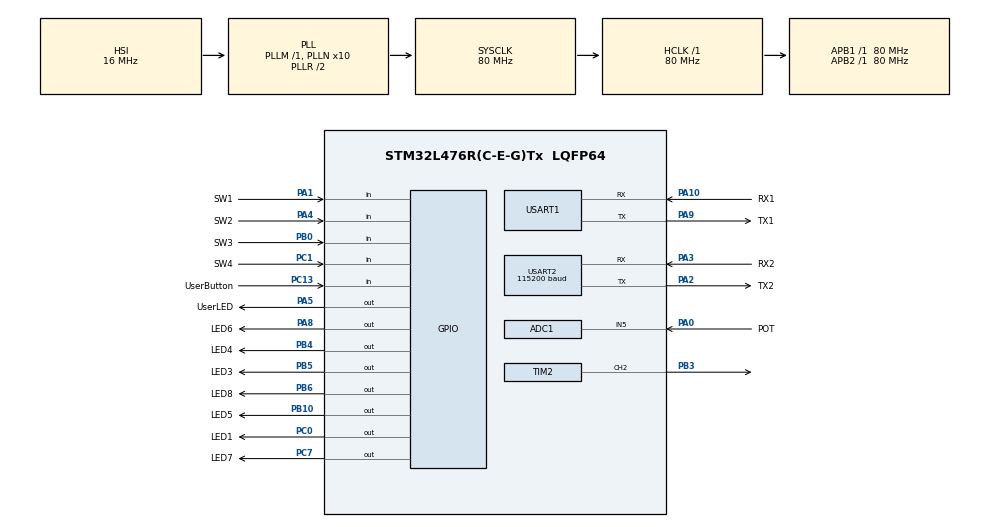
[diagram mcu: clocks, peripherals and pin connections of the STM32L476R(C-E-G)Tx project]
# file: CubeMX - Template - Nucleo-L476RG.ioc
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ADC1.Channel-0\#ChannelRegularConversion=ADC_CHANNEL_5
ADC1.NbrOfConversionFlag=1
ADC1.OffsetNumber-0\#ChannelRegularConversion=ADC_OFFSET_NONE
ADC1.Overrun=ADC_OVR_DATA_OVERWRITTEN
ADC1.Rank-0\#ChannelRegularConversion=1
ADC1.Resolution=ADC_RESOLUTION_12B
ADC1.SamplingTime-0\#ChannelRegularConversion=ADC_SAMPLETIME_2CYCLES_5
ADC1.master=1
IWDG.Prescaler=IWDG_PRESCALER_256
IWDG.Reload=1249
Mcu.Family=STM32L4
Mcu.Name=STM32L476R(C-E-G)Tx
Mcu.Package=LQFP64
NVIC.PriorityGroup=NVIC_PRIORITYGROUP_4
NVIC.USART1_IRQn=true\:0\:0\:false\:false\:true\:true\:true\:true
PA0.GPIO_Label=POT
PA0.Signal=ADCx_IN5
PA1.GPIO_Label=SW1
PA1.Signal=GPIO_Input
PA10.GPIO_Label=RX1
PA10.Mode=Asynchronous
PA10.Signal=USART1_RX
PA13\ (JTMS-SWDIO).GPIO_Label=TMS
PA13\ (JTMS-SWDIO).Mode=Serial_Wire
PA13\ (JTMS-SWDIO).Signal=SYS_JTMS-SWDIO
PA14\ (JTCK-SWCLK).GPIO_Label=TCK
PA14\ (JTCK-SWCLK).Mode=Serial_Wire
PA14\ (JTCK-SWCLK).Signal=SYS_JTCK-SWCLK
PA2.GPIO_Label=TX2
PA2.GPIO_Mode=GPIO_MODE_AF_PP
PA2.GPIO_PuPd=GPIO_NOPULL
PA2.GPIO_Speed=GPIO_SPEED_FREQ_VERY_HIGH
PA2.Mode=Asynchronous
PA2.Signal=USART2_TX
PA3.GPIO_Label=RX2
PA3.GPIO_Mode=GPIO_MODE_AF_PP
PA3.GPIO_PuPd=GPIO_NOPULL
PA3.GPIO_Speed=GPIO_SPEED_FREQ_VERY_HIGH
PA3.Mode=Asynchronous
PA3.Signal=USART2_RX
PA4.GPIO_Label=SW2
PA4.Signal=GPIO_Input
PA5.GPIO_Label=UserLED
PA5.GPIO_ModeDefaultOutputPP=GPIO_MODE_OUTPUT_PP
PA5.GPIO_PuPd=GPIO_NOPULL
PA5.GPIO_Speed=GPIO_SPEED_FREQ_LOW
PA5.Signal=GPIO_Output
PA8.GPIO_Label=LED6
PA8.Signal=GPIO_Output
PA9.GPIO_Label=TX1
PA9.Mode=Asynchronous
PA9.Signal=USART1_TX
PB0.GPIO_Label=SW3
PB0.Signal=GPIO_Input
PB10.GPIO_Label=LED5
PB10.Signal=GPIO_Output
PB3\ (JTDO-TRACESWO).Signal=S_TIM2_CH2
PB4\ (NJTRST).GPIO_Label=LED4
PB4\ (NJTRST).Signal=GPIO_Output
PB5.GPIO_Label=LED3
PB5.Signal=GPIO_Output
PB6.GPIO_Label=LED8
PB6.Signal=GPIO_Output
PC0.GPIO_Label=LED1
PC0.Signal=GPIO_Output
PC1.GPIO_Label=SW4
PC1.Signal=GPIO_Input
PC13.GPIO_Label=UserButton
PC13.Signal=GPIO_Input
PC7.GPIO_Label=LED7
PC7.Signal=GPIO_Output
ProjectManager.HeapSize=0x200
ProjectManager.StackSize=0x400
ProjectManager.TargetToolchain=MDK-ARM V5.32
RCC.ADCFreq_Value=64000000
RCC.AHBFreq_Value=80000000
RCC.APB1Freq_Value=80000000
RCC.APB1TimFreq_Value=80000000
RCC.APB2Freq_Value=80000000
RCC.APB2TimFreq_Value=80000000
RCC.CortexFreq_Value=80000000
RCC.HCLKFreq_Value=80000000
RCC.HSE_VALUE=8000000
RCC.HSI_VALUE=16000000
RCC.LSE_VALUE=32768
RCC.MSI_VALUE=4000000
RCC.PLLN=10
RCC.PLLSourceVirtual=RCC_PLLSOURCE_HSI
RCC.PREFETCH_ENABLE=1
RCC.SYSCLKFreq_VALUE=80000000
RCC.SYSCLKSource=RCC_SYSCLKSOURCE_PLLCLK
RCC.USBFreq_Value=64000000
RCC.VCOOutputFreq_Value=160000000
SH.ADCx_IN5.0=ADC1_IN5,IN5-Single-Ended
SH.S_TIM2_CH2.0=TIM2_CH2,PWM Generation2 CH2
TIM2.Channel-PWM\ Generation2\ CH2=TIM_CHANNEL_2
TIM2.Period=999
TIM2.Prescaler=79
USART1.OverrunDisableParam=ADVFEATURE_OVERRUN_DISABLE
USART1.VirtualMode-Asynchronous=VM_ASYNC
USART2.BaudRate=115200
USART2.OverrunDisableParam=ADVFEATURE_OVERRUN_DISABLE
USART2.VirtualMode-Asynchronous=VM_ASYNC
VP_IWDG_VS_IWDG.Mode=IWDG_Activate
board=NUCLEO-L476RG

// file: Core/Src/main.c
/* USER CODE BEGIN Header */
/**
  ******************************************************************************
  * @file           : main.c
  * @brief          : Main program body
  ******************************************************************************
  * @attention
  *
  * Copyright (c) 2023 STMicroelectronics.
  * All rights reserved.
  *
  * This software is licensed under terms that can be found in the LICENSE file
  * in the root directory of this software component.
  * If no LICENSE file comes with this software, it is provided AS-IS.
  *
  ******************************************************************************
  */
/* USER CODE END Header */
#include "main.h"

/* USER CODE BEGIN Includes */
#include "stdlib.h"
#include "string.h"
#include "leds.h"
#include "buttons.h"
#include "usart1.h"
#include "usart2.h"
#include "ad.h"
#include "stdio.h"
#include "circularBuffer.h"
#include "esp32c3.h"
#include "wifi.h"
#include <ctype.h>
/* USER CODE END Includes */

ADC_HandleTypeDef hadc1;

IWDG_HandleTypeDef hiwdg;

TIM_HandleTypeDef htim2;

UART_HandleTypeDef huart1;
UART_HandleTypeDef huart2;

/* USER CODE BEGIN PV */
// Timer handle voor PWM (TIM2)
static uint8_t buttonsValue = 0, index = 0;
static uint16_t adValue = 0;
static volatile uint32_t ticks = 0;

static bool userButtonHelp = false, sw1Help = false, sw2Help = false, sw3Help = false, sw4Help = false;
volatile bool timerTicked = false;
static bool timeBasedPublishing = false;
static char text[CHAR_ARRAY_BUFFER_LENGTH];
static char receivedText[CHAR_ARRAY_BUFFER_LENGTH];
static char httpParameters[CHAR_ARRAY_BUFFER_LENGTH];
static volatile enum UsartState usart1State =	idle;

extern volatile CircularBuffer circularBuffer;
extern enum CircularBufferActionResult circularBufferActionResult;
static uint8_t leds = 0, numberOfReceivedBytes = 0;

static volatile uint8_t receivedUsart1Data = 0;
/* USER CODE END PV */

void SystemClock_Config(void);
static void MX_GPIO_Init(void);
static void MX_ADC1_Init(void);
static void MX_USART2_UART_Init(void);
static void MX_USART1_UART_Init(void);
static void MX_IWDG_Init(void);
static void MX_TIM2_Init(void);
void HAL_TIM_MspPostInit(TIM_HandleTypeDef *htim);

int main(void)
{

  /* MCU Configuration--------------------------------------------------------*/

  /* Reset of all peripherals, Initializes the Flash interface and the Systick. */
  HAL_Init();

  /* Configure the system clock */
  SystemClock_Config();

  /* Initialize all configured peripherals */
  MX_GPIO_Init();
  MX_ADC1_Init();
  MX_USART2_UART_Init();
  MX_USART1_UART_Init();
  MX_IWDG_Init();
  MX_TIM2_Init();
  /* USER CODE BEGIN 2 */
	printf("Reboot\r\n");
	printf("User button = start/stop pushing to Firebase.\r\n");

	if(InitCircularBuffer(&circularBuffer) != INIT_SUCCEEDED)
		printf("Initialization of CircularBuffer failed!\r\n");

	HAL_Delay(1000);

	HAL_UART_Receive_IT(&huart1, (uint8_t*)&receivedUsart1Data, 1);

	// Start PWM op TIM2 Channel 2 (PB3 - LED2)
	if (HAL_TIM_PWM_Start(&htim2, TIM_CHANNEL_2) != HAL_OK)
    {
        printf("Fout: Kon PWM TIM2 CH2 niet starten!\r\n");
    }
    else
    {
        printf("PWM TIM2 CH2 gestart.\r\n");
    }

	// WiFi & MQTT Setup
	StringToUsart1("AT\r\n");
	while(!LookForString1(&circularBuffer, "OK\r\n"));

	StringToUsart1("AT+RST\r\n");
	while(!LookForString1(&circularBuffer, "ready\r\n"));

	StringToUsart1("AT+GMR\r\n");
	while(!LookForString1(&circularBuffer, "OK\r\n"));

	ConnectToWiFiNetwork(WIFI_SSID, WIFI_PWD);

	ConnectToMqttBroker(MQTT_BROKER_ADDRESS, MQTT_PORT, MQTT_USER, MQTT_PWD, MQTT_CLIENT_ID);

	SubscribeToMqttTopic(MQTT_SUB_TOPIC);

  /* USER CODE END 2 */

  /* Infinite loop */
  /* USER CODE BEGIN WHILE */
  while (1)
  {
		HAL_IWDG_Refresh(&hiwdg);

		adValue = (uint8_t)(GetAdValue(&hadc1) >> 4);

		buttonsValue = 0;
		if(SW1Active()) buttonsValue |= 0x01;
		if(SW2Active()) buttonsValue |= 0x02;
		if(SW3Active()) buttonsValue |= 0x04;
		if(SW4Active()) buttonsValue |= 0x08;
		if(UserButtonActive()) buttonsValue |= 0x10;

		ByteToLeds(leds);

		// HTTP/HTTPS logic (behoud van functionaliteit)
		if(SW1Active() && sw1Help == false) {
			sw1Help = true;
			sprintf(httpParameters, "apikey=%s", HTTP_APIKEY);
			HttpRequest(HTTP_HOST, HTTP_URL_GET, 80, GET, httpParameters);
		}
		if(!SW1Active()) sw1Help = false;

		if(SW2Active() && sw2Help == false) {
			sw2Help = true;
			sprintf(httpParameters, "apikey=%s&ad=%d", HTTP_APIKEY, adValue);
			HttpRequest(HTTP_HOST, HTTP_URL_POST, 80, POST, httpParameters);
		}
		if(!SW2Active()) sw2Help = false;

		if(SW3Active() && sw3Help == false) {
			sw3Help = true;
			sprintf(httpParameters, "auth=%s", HTTPS_DATABASE_SECRET);
			HttpsRequest(HTTPS_HOST, HTTPS_URL_GET, 443, GET, httpParameters);
		}
		if(!SW3Active()) sw3Help = false;

		if(SW4Active() && sw4Help == false) {
			sw4Help = true;
			sprintf(httpParameters, "{\"advalue\":%d}", adValue);
			sprintf(text, "%s?auth=%s", HTTPS_URL_PATCH, HTTPS_DATABASE_SECRET);
			HttpsRequest(HTTPS_HOST, text, 443, PATCH, httpParameters);
		}
		if(!SW4Active()) sw4Help = false;

		if(UserButtonActive() && userButtonHelp == false) {
			userButtonHelp = true;
			timeBasedPublishing = !timeBasedPublishing;
		}
		if(!UserButtonActive()) userButtonHelp = false;

		if(timeBasedPublishing && timerTicked) {
			timerTicked = false;
			sprintf(text, "%d", adValue);
			MqttPublish(MQTT_PUB_TOPIC, text);
		}

		// Buffer handling (De kern voor de LED Dimmer!)
		while(circularBuffer.numberOfStringsInBuffer > 0)
		{
			circularBufferActionResult = PopStringFromCircularBuffer(&circularBuffer, receivedText);
			if(circularBufferActionResult == READ_STRING_SUCCEEDED)
			{
				// HTTP(S) response
				if(strncmp("+IPD,", receivedText, 5) == 0)
				{
					while(!LookForString1(&circularBuffer, "\r\n"));
					while(circularBuffer.numberOfStringsInBuffer == 0);
					circularBufferActionResult = PopStringFromCircularBuffer(&circularBuffer, receivedText);
					leds = (uint8_t)atoi(receivedText);
					ByteToLeds(leds);
				}

				// MQTT: Labo 5.2
				sprintf(text, "+MQTTSUBRECV:0,\"%s\",", MQTT_SUB_TOPIC);
				index = strlen(text);

				if(strncmp(text, receivedText, index) == 0)
				{
					char *lastComma = strrchr(receivedText, ',');

					if (lastComma != NULL)
					{
						char *dataStart = lastComma + 1;
						bool isValidNumber = true;

						// Validatie: Is het een getal?
						if (*dataStart == '\r' || *dataStart == '\n' || *dataStart == '\0')
							isValidNumber = false;
						else {
							for (int i = 0; dataStart[i] != '\r' && dataStart[i] != '\n' && dataStart[i] != '\0'; i++) {
								if (!isdigit((unsigned char)dataStart[i])) {
									isValidNumber = false;
									break;
								}
							}
						}

						if (isValidNumber)
						{
							int receivedVal = atoi(dataStart);

							if (receivedVal >= 0 && receivedVal <= 100)
							{
								// Schaal 0-100 naar 0-1000
								uint32_t pulseValue = receivedVal * 10;
								__HAL_TIM_SET_COMPARE(&htim2, TIM_CHANNEL_2, pulseValue);
								printf("MQTT Dimmer (PB3): %d%% (Pulse=%lu)\r\n", receivedVal, pulseValue);
							}
							else
							{
								// Fout: Buiten bereik -> LED uit
								__HAL_TIM_SET_COMPARE(&htim2, TIM_CHANNEL_2, 0);
								printf("Fout: Waarde %d buiten bereik. LED uit.\r\n", receivedVal);
							}
						}
						else
						{
							// Fout: Geen getal -> LED uit
							__HAL_TIM_SET_COMPARE(&htim2, TIM_CHANNEL_2, 0);
							printf("Fout: Ongeldige data. LED uit.\r\n");
						}
					}
				}
			}
		}
		HAL_Delay(10);
    /* USER CODE END WHILE */

  }
}

void SystemClock_Config(void)
{
  RCC_OscInitTypeDef RCC_OscInitStruct = {0};
  RCC_ClkInitTypeDef RCC_ClkInitStruct = {0};

  /** Configure the main internal regulator output voltage
  */
  if (HAL_PWREx_ControlVoltageScaling(PWR_REGULATOR_VOLTAGE_SCALE1) != HAL_OK)
  {
    Error_Handler();
  }

  /** Initializes the RCC Oscillators according to the specified parameters
  * in the RCC_OscInitTypeDef structure.
  */
  RCC_OscInitStruct.OscillatorType = RCC_OSCILLATORTYPE_HSI|RCC_OSCILLATORTYPE_LSI;
  RCC_OscInitStruct.HSIState = RCC_HSI_ON;
  RCC_OscInitStruct.HSICalibrationValue = RCC_HSICALIBRATION_DEFAULT;
  RCC_OscInitStruct.LSIState = RCC_LSI_ON;
  RCC_OscInitStruct.PLL.PLLState = RCC_PLL_ON;
  RCC_OscInitStruct.PLL.PLLSource = RCC_PLLSOURCE_HSI;
  RCC_OscInitStruct.PLL.PLLM = 1;
  RCC_OscInitStruct.PLL.PLLN = 10;
  RCC_OscInitStruct.PLL.PLLP = RCC_PLLP_DIV7;
  RCC_OscInitStruct.PLL.PLLQ = RCC_PLLQ_DIV2;
  RCC_OscInitStruct.PLL.PLLR = RCC_PLLR_DIV2;
  if (HAL_RCC_OscConfig(&RCC_OscInitStruct) != HAL_OK)
  {
    Error_Handler();
  }

  /** Initializes the CPU, AHB and APB buses clocks
  */
  RCC_ClkInitStruct.ClockType = RCC_CLOCKTYPE_HCLK|RCC_CLOCKTYPE_SYSCLK
                              |RCC_CLOCKTYPE_PCLK1|RCC_CLOCKTYPE_PCLK2;
  RCC_ClkInitStruct.SYSCLKSource = RCC_SYSCLKSOURCE_PLLCLK;
  RCC_ClkInitStruct.AHBCLKDivider = RCC_SYSCLK_DIV1;
  RCC_ClkInitStruct.APB1CLKDivider = RCC_HCLK_DIV1;
  RCC_ClkInitStruct.APB2CLKDivider = RCC_HCLK_DIV1;

  if (HAL_RCC_ClockConfig(&RCC_ClkInitStruct, FLASH_LATENCY_4) != HAL_OK)
  {
    Error_Handler();
  }
}

static void MX_ADC1_Init(void)
{

  ADC_MultiModeTypeDef multimode = {0};
  ADC_ChannelConfTypeDef sConfig = {0};

  /** Common config
  */
  hadc1.Instance = ADC1;
  hadc1.Init.ClockPrescaler = ADC_CLOCK_ASYNC_DIV1;
  hadc1.Init.Resolution = ADC_RESOLUTION_12B;
  hadc1.Init.DataAlign = ADC_DATAALIGN_RIGHT;
  hadc1.Init.ScanConvMode = ADC_SCAN_DISABLE;
  hadc1.Init.EOCSelection = ADC_EOC_SINGLE_CONV;
  hadc1.Init.LowPowerAutoWait = DISABLE;
  hadc1.Init.ContinuousConvMode = DISABLE;
  hadc1.Init.NbrOfConversion = 1;
  hadc1.Init.DiscontinuousConvMode = DISABLE;
  hadc1.Init.ExternalTrigConv = ADC_SOFTWARE_START;
  hadc1.Init.ExternalTrigConvEdge = ADC_EXTERNALTRIGCONVEDGE_NONE;
  hadc1.Init.DMAContinuousRequests = DISABLE;
  hadc1.Init.Overrun = ADC_OVR_DATA_OVERWRITTEN;
  hadc1.Init.OversamplingMode = DISABLE;
  if (HAL_ADC_Init(&hadc1) != HAL_OK)
  {
    Error_Handler();
  }

  /** Configure the ADC multi-mode
  */
  multimode.Mode = ADC_MODE_INDEPENDENT;
  if (HAL_ADCEx_MultiModeConfigChannel(&hadc1, &multimode) != HAL_OK)
  {
    Error_Handler();
  }

  /** Configure Regular Channel
  */
  sConfig.Channel = ADC_CHANNEL_5;
  sConfig.Rank = ADC_REGULAR_RANK_1;
  sConfig.SamplingTime = ADC_SAMPLETIME_2CYCLES_5;
  sConfig.SingleDiff = ADC_SINGLE_ENDED;
  sConfig.OffsetNumber = ADC_OFFSET_NONE;
  sConfig.Offset = 0;
  if (HAL_ADC_ConfigChannel(&hadc1, &sConfig) != HAL_OK)
  {
    Error_Handler();
  }

}

static void MX_IWDG_Init(void)
{

  hiwdg.Instance = IWDG;
  hiwdg.Init.Prescaler = IWDG_PRESCALER_256;
  hiwdg.Init.Window = 4095;
  hiwdg.Init.Reload = 1249;
  if (HAL_IWDG_Init(&hiwdg) != HAL_OK)
  {
    Error_Handler();
  }

}

static void MX_TIM2_Init(void)
{

  TIM_MasterConfigTypeDef sMasterConfig = {0};
  TIM_OC_InitTypeDef sConfigOC = {0};

  htim2.Instance = TIM2;
  htim2.Init.Prescaler = 79;
  htim2.Init.CounterMode = TIM_COUNTERMODE_UP;
  htim2.Init.Period = 999;
  htim2.Init.ClockDivision = TIM_CLOCKDIVISION_DIV1;
  htim2.Init.AutoReloadPreload = TIM_AUTORELOAD_PRELOAD_DISABLE;
  if (HAL_TIM_PWM_Init(&htim2) != HAL_OK)
  {
    Error_Handler();
  }
  sMasterConfig.MasterOutputTrigger = TIM_TRGO_RESET;
  sMasterConfig.MasterSlaveMode = TIM_MASTERSLAVEMODE_DISABLE;
  if (HAL_TIMEx_MasterConfigSynchronization(&htim2, &sMasterConfig) != HAL_OK)
  {
    Error_Handler();
  }
  sConfigOC.OCMode = TIM_OCMODE_PWM1;
  sConfigOC.Pulse = 0;
  sConfigOC.OCPolarity = TIM_OCPOLARITY_HIGH;
  sConfigOC.OCFastMode = TIM_OCFAST_DISABLE;
  if (HAL_TIM_PWM_ConfigChannel(&htim2, &sConfigOC, TIM_CHANNEL_2) != HAL_OK)
  {
    Error_Handler();
  }
  HAL_TIM_MspPostInit(&htim2);

}

static void MX_USART1_UART_Init(void)
{

  huart1.Instance = USART1;
  huart1.Init.BaudRate = 115200;
  huart1.Init.WordLength = UART_WORDLENGTH_8B;
  huart1.Init.StopBits = UART_STOPBITS_1;
  huart1.Init.Parity = UART_PARITY_NONE;
  huart1.Init.Mode = UART_MODE_TX_RX;
  huart1.Init.HwFlowCtl = UART_HWCONTROL_NONE;
  huart1.Init.OverSampling = UART_OVERSAMPLING_16;
  huart1.Init.OneBitSampling = UART_ONE_BIT_SAMPLE_DISABLE;
  huart1.AdvancedInit.AdvFeatureInit = UART_ADVFEATURE_RXOVERRUNDISABLE_INIT;
  huart1.AdvancedInit.OverrunDisable = UART_ADVFEATURE_OVERRUN_DISABLE;
  if (HAL_UART_Init(&huart1) != HAL_OK)
  {
    Error_Handler();
  }

}

static void MX_USART2_UART_Init(void)
{

  huart2.Instance = USART2;
  huart2.Init.BaudRate = 115200;
  huart2.Init.WordLength = UART_WORDLENGTH_8B;
  huart2.Init.StopBits = UART_STOPBITS_1;
  huart2.Init.Parity = UART_PARITY_NONE;
  huart2.Init.Mode = UART_MODE_TX_RX;
  huart2.Init.HwFlowCtl = UART_HWCONTROL_NONE;
  huart2.Init.OverSampling = UART_OVERSAMPLING_16;
  huart2.Init.OneBitSampling = UART_ONE_BIT_SAMPLE_DISABLE;
  huart2.AdvancedInit.AdvFeatureInit = UART_ADVFEATURE_RXOVERRUNDISABLE_INIT;
  huart2.AdvancedInit.OverrunDisable = UART_ADVFEATURE_OVERRUN_DISABLE;
  if (HAL_UART_Init(&huart2) != HAL_OK)
  {
    Error_Handler();
  }

}

static void MX_GPIO_Init(void)
{
  GPIO_InitTypeDef GPIO_InitStruct = {0};

  /* GPIO Ports Clock Enable */
  __HAL_RCC_GPIOC_CLK_ENABLE();
  __HAL_RCC_GPIOA_CLK_ENABLE();
  __HAL_RCC_GPIOB_CLK_ENABLE();

  /*Configure GPIO pin Output Level */
  HAL_GPIO_WritePin(GPIOC, LED1_Pin|LED7_Pin, GPIO_PIN_RESET);

  /*Configure GPIO pin Output Level */
  HAL_GPIO_WritePin(GPIOA, UserLED_Pin|LED6_Pin, GPIO_PIN_RESET);

  /*Configure GPIO pin Output Level */
  // LED2 is eruit, want die is nu TIM2 CH2
  HAL_GPIO_WritePin(GPIOB, LED5_Pin|LED4_Pin|LED3_Pin|LED8_Pin, GPIO_PIN_RESET);

  /*Configure GPIO pins : UserButton_Pin SW4_Pin */
  GPIO_InitStruct.Pin = UserButton_Pin|SW4_Pin;
  GPIO_InitStruct.Mode = GPIO_MODE_INPUT;
  GPIO_InitStruct.Pull = GPIO_NOPULL;
  HAL_GPIO_Init(GPIOC, &GPIO_InitStruct);

  /*Configure GPIO pins : LED1_Pin LED7_Pin */
  GPIO_InitStruct.Pin = LED1_Pin|LED7_Pin;
  GPIO_InitStruct.Mode = GPIO_MODE_OUTPUT_PP;
  GPIO_InitStruct.Pull = GPIO_NOPULL;
  GPIO_InitStruct.Speed = GPIO_SPEED_FREQ_LOW;
  HAL_GPIO_Init(GPIOC, &GPIO_InitStruct);

  /*Configure GPIO pins : SW1_Pin SW2_Pin */
  GPIO_InitStruct.Pin = SW1_Pin|SW2_Pin;
  GPIO_InitStruct.Mode = GPIO_MODE_INPUT;
  GPIO_InitStruct.Pull = GPIO_NOPULL;
  HAL_GPIO_Init(GPIOA, &GPIO_InitStruct);

  /*Configure GPIO pins : UserLED_Pin LED6_Pin */
  GPIO_InitStruct.Pin = UserLED_Pin|LED6_Pin;
  GPIO_InitStruct.Mode = GPIO_MODE_OUTPUT_PP;
  GPIO_InitStruct.Pull = GPIO_NOPULL;
  GPIO_InitStruct.Speed = GPIO_SPEED_FREQ_LOW;
  HAL_GPIO_Init(GPIOA, &GPIO_InitStruct);

  /*Configure GPIO pin : SW3_Pin */
  GPIO_InitStruct.Pin = SW3_Pin;
  GPIO_InitStruct.Mode = GPIO_MODE_INPUT;
  GPIO_InitStruct.Pull = GPIO_NOPULL;
  HAL_GPIO_Init(SW3_GPIO_Port, &GPIO_InitStruct);

  /*Configure GPIO pins : LED5_Pin LED4_Pin LED3_Pin LED8_Pin */
  GPIO_InitStruct.Pin = LED5_Pin|LED4_Pin|LED3_Pin|LED8_Pin;
  GPIO_InitStruct.Mode = GPIO_MODE_OUTPUT_PP;
  GPIO_InitStruct.Pull = GPIO_NOPULL;
  GPIO_InitStruct.Speed = GPIO_SPEED_FREQ_LOW;
  HAL_GPIO_Init(GPIOB, &GPIO_InitStruct);

}

/* USER CODE BEGIN 4 */
void HAL_UART_RxCpltCallback(UART_HandleTypeDef *UartHandle)
{
	if(UartHandle->Instance == USART1)
	{
		HAL_UART_Transmit(&huart2, (uint8_t *)&receivedUsart1Data, 1, 0);

		if(usart1State == busyReceiving)
		{
			if(!IsCircularBufferFull(&circularBuffer))
			{
				PushCharToCircularBuffer(&circularBuffer, receivedUsart1Data);
				if(receivedUsart1Data == '\n') usart1State = idle;
			}
		}
		else
		{
			if(usart1State == idle)
			{
				if(!IsCircularBufferFull(&circularBuffer))
				{
					usart1State = busyReceiving;
					PushCharToCircularBuffer(&circularBuffer, receivedUsart1Data);

					if(receivedUsart1Data == '\n') usart1State = idle;
					else
					{
						if(receivedUsart1Data == '>')
						{
							PushCharToCircularBuffer(&circularBuffer, '\r');
							PushCharToCircularBuffer(&circularBuffer, '\n');
							usart1State = idle;
						}
					}
				}
			}
		}
		HAL_UART_Receive_IT(&huart1, (uint8_t*)&receivedUsart1Data, 1);
	}
}
/* USER CODE END 4 */

void Error_Handler(void)
{
  __disable_irq();
  while (1)
  {
  }
}
